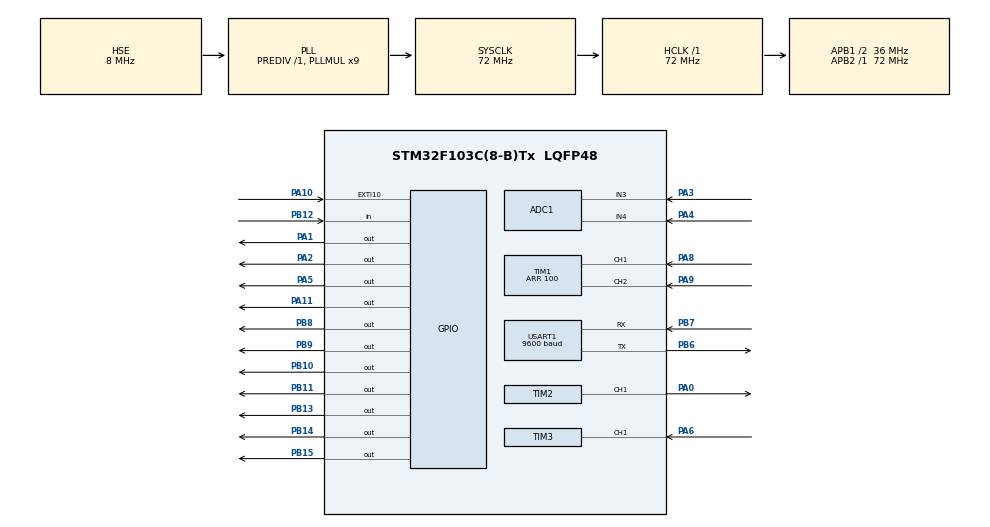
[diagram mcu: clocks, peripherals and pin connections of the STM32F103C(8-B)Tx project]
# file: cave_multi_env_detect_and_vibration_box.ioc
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ADC1.Channel-1\#ChannelRegularConversion=ADC_CHANNEL_3
ADC1.Channel-2\#ChannelRegularConversion=ADC_CHANNEL_4
ADC1.ContinuousConvMode=ENABLE
ADC1.ExternalTrigConv=ADC_SOFTWARE_START
ADC1.NbrOfConversion=2
ADC1.NbrOfConversionFlag=1
ADC1.Rank-1\#ChannelRegularConversion=1
ADC1.Rank-2\#ChannelRegularConversion=2
ADC1.SamplingTime-1\#ChannelRegularConversion=ADC_SAMPLETIME_55CYCLES_5
ADC1.SamplingTime-2\#ChannelRegularConversion=ADC_SAMPLETIME_55CYCLES_5
ADC1.master=1
Dma.ADC1.0.Direction=DMA_PERIPH_TO_MEMORY
Dma.ADC1.0.Instance=DMA1_Channel1
Dma.ADC1.0.MemDataAlignment=DMA_MDATAALIGN_HALFWORD
Dma.ADC1.0.MemInc=DMA_MINC_ENABLE
Dma.ADC1.0.Mode=DMA_CIRCULAR
Dma.ADC1.0.PeriphDataAlignment=DMA_PDATAALIGN_HALFWORD
Dma.ADC1.0.PeriphInc=DMA_PINC_DISABLE
Dma.ADC1.0.Priority=DMA_PRIORITY_LOW
Dma.Request0=ADC1
Dma.Request1=USART1_RX
Dma.USART1_RX.1.Direction=DMA_PERIPH_TO_MEMORY
Dma.USART1_RX.1.Instance=DMA1_Channel5
Dma.USART1_RX.1.MemDataAlignment=DMA_MDATAALIGN_BYTE
Dma.USART1_RX.1.MemInc=DMA_MINC_ENABLE
Dma.USART1_RX.1.Mode=DMA_NORMAL
Dma.USART1_RX.1.PeriphDataAlignment=DMA_PDATAALIGN_BYTE
Dma.USART1_RX.1.PeriphInc=DMA_PINC_DISABLE
Dma.USART1_RX.1.Priority=DMA_PRIORITY_LOW
Mcu.Family=STM32F1
Mcu.Name=STM32F103C(8-B)Tx
Mcu.Package=LQFP48
NVIC.DMA1_Channel1_IRQn=true\:0\:0\:true\:false\:true\:false\:true\:true
NVIC.DMA1_Channel5_IRQn=true\:0\:0\:false\:false\:true\:false\:true\:true
NVIC.EXTI15_10_IRQn=true\:0\:0\:false\:false\:true\:true\:true\:true
NVIC.PriorityGroup=NVIC_PRIORITYGROUP_4
NVIC.TIM3_IRQn=true\:1\:0\:true\:false\:true\:true\:true\:true
NVIC.USART1_IRQn=true\:1\:0\:true\:false\:true\:true\:true\:true
PA0-WKUP.Signal=S_TIM2_CH1_ETR
PA1.PinState=GPIO_PIN_SET
PA1.Signal=GPIO_Output
PA10.GPIO_PuPd=GPIO_PULLUP
PA10.Signal=GPXTI10
PA11.PinState=GPIO_PIN_SET
PA11.Signal=GPIO_Output
PA13.Mode=Serial_Wire
PA13.Signal=SYS_JTMS-SWDIO
PA14.Mode=Serial_Wire
PA14.Signal=SYS_JTCK-SWCLK
PA2.PinState=GPIO_PIN_SET
PA2.Signal=GPIO_Output
PA3.Signal=ADCx_IN3
PA4.Signal=ADCx_IN4
PA5.Signal=GPIO_Output
PA6.Signal=S_TIM3_CH1
PA8.Signal=S_TIM1_CH1
PA9.Signal=S_TIM1_CH2
PB10.GPIO_ModeDefaultOutputPP=GPIO_MODE_OUTPUT_OD
PB10.GPIO_PuPd=GPIO_NOPULL
PB10.Signal=GPIO_Output
PB11.GPIO_ModeDefaultOutputPP=GPIO_MODE_OUTPUT_OD
PB11.GPIO_PuPd=GPIO_NOPULL
PB11.Signal=GPIO_Output
PB12.GPIO_PuPd=GPIO_PULLUP
PB12.Signal=GPIO_Input
PB13.Signal=GPIO_Output
PB14.Signal=GPIO_Output
PB15.Signal=GPIO_Output
PB6.Mode=Asynchronous
PB6.Signal=USART1_TX
PB7.Mode=Asynchronous
PB7.Signal=USART1_RX
PB8.GPIO_ModeDefaultOutputPP=GPIO_MODE_OUTPUT_OD
PB8.GPIO_PuPd=GPIO_NOPULL
PB8.Signal=GPIO_Output
PB9.GPIO_ModeDefaultOutputPP=GPIO_MODE_OUTPUT_OD
PB9.GPIO_PuPd=GPIO_NOPULL
PB9.Signal=GPIO_Output
PC14-OSC32_IN.Mode=LSE-External-Oscillator
PC14-OSC32_IN.Signal=RCC_OSC32_IN
PC15-OSC32_OUT.Mode=LSE-External-Oscillator
PC15-OSC32_OUT.Signal=RCC_OSC32_OUT
PD0-OSC_IN.Mode=HSE-External-Oscillator
PD0-OSC_IN.Signal=RCC_OSC_IN
PD1-OSC_OUT.Mode=HSE-External-Oscillator
PD1-OSC_OUT.Signal=RCC_OSC_OUT
ProjectManager.HeapSize=0x200
ProjectManager.StackSize=0x400
ProjectManager.TargetToolchain=STM32CubeIDE
RCC.ADCPresc=RCC_ADCPCLK2_DIV6
RCC.AHBFreq_Value=72000000
RCC.APB1CLKDivider=RCC_HCLK_DIV2
RCC.APB1Freq_Value=36000000
RCC.APB1TimFreq_Value=72000000
RCC.APB2Freq_Value=72000000
RCC.APB2TimFreq_Value=72000000
RCC.HCLKFreq_Value=72000000
RCC.PLLMUL=RCC_PLL_MUL9
RCC.PLLSourceVirtual=RCC_PLLSOURCE_HSE
RCC.RTCClockSelection=RCC_RTCCLKSOURCE_LSE
RCC.SYSCLKFreq_VALUE=72000000
RCC.SYSCLKSource=RCC_SYSCLKSOURCE_PLLCLK
RCC.USBFreq_Value=72000000
RTC.Date=12
RTC.Format=RTC_FORMAT_BIN
RTC.Hours=13
RTC.Minutes=14
RTC.Month=RTC_MONTH_MARCH
RTC.WeekDay=RTC_WEEKDAY_THURSDAY
RTC.Year=26
SH.ADCx_IN3.0=ADC1_IN3,IN3
SH.ADCx_IN4.0=ADC1_IN4,IN4
SH.S_TIM1_CH1.0=TIM1_CH1,Encoder_Interface
SH.S_TIM1_CH2.0=TIM1_CH2,Encoder_Interface
SH.S_TIM2_CH1_ETR.0=TIM2_CH1,PWM Generation1 CH1
SH.S_TIM3_CH1.0=TIM3_CH1,Input_Capture1_from_TI1
TIM1.EncoderMode=TIM_ENCODERMODE_TI12
TIM1.Period=100
TIM2.Channel-PWM\ Generation1\ CH1=TIM_CHANNEL_1
TIM2.OCPolarity_1=TIM_OCPOLARITY_LOW
TIM2.Period=100
TIM2.Prescaler=719
TIM2.Pulse-PWM\ Generation1\ CH1=50
TIM3.Channel-Input_Capture1_from_TI1=TIM_CHANNEL_1
TIM3.ICFilter_CH1=2
TIM3.ICPolarity_CH1=TIM_INPUTCHANNELPOLARITY_FALLING
TIM3.Prescaler=71
TIM4.Prescaler=71
USART1.BaudRate=9600
USART1.VirtualMode=VM_ASYNC
VP_RTC_VS_RTC_Activate.Mode=RTC_Enabled
VP_RTC_VS_RTC_Calendar.Mode=RTC_Calendar
VP_TIM4_VS_ClockSourceINT.Mode=Internal
board=custom

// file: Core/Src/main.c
/* USER CODE BEGIN Header */
/**
  ******************************************************************************
  * @file           : main.c
  * @brief          : Main program body
  ******************************************************************************
  * @attention
  *
  * Copyright (c) 2026 STMicroelectronics.
  * All rights reserved.
  *
  * This software is licensed under terms that can be found in the LICENSE file
  * in the root directory of this software component.
  * If no LICENSE file comes with this software, it is provided AS-IS.
  *
  ******************************************************************************
  */
/* USER CODE END Header */
#include "main.h"
#include "adc.h"
#include "dma.h"
#include "rtc.h"
#include "tim.h"
#include "usart.h"
#include "gpio.h"

/* USER CODE BEGIN Includes */
#include "OLED.h"
#include "DHT11.h"
#include "Delay.h"
#include "NEC.h"
#include "MPU6050.h"
#include "Meau.h"
#include "Date.h"
#include "op.h"
#include <string.h>
/* USER CODE END Includes */

/* USER CODE BEGIN PV */
char OrgRX[100];
uint16_t ADC_DATA[2];
int16_t AccX;
int16_t AccY;
int16_t AccZ;
int16_t GyroX;
int16_t GyroY;
int16_t GyroZ;
/* USER CODE END PV */

void SystemClock_Config(void);

int main(void)
{

  /* MCU Configuration--------------------------------------------------------*/

  /* Reset of all peripherals, Initializes the Flash interface and the Systick. */
  HAL_Init();

  /* Configure the system clock */
  SystemClock_Config();

  /* Initialize all configured peripherals */
  MX_GPIO_Init();
  MX_DMA_Init();
  MX_ADC1_Init();
  MX_TIM1_Init();
  MX_TIM2_Init();
  MX_TIM3_Init();
  MX_RTC_Init();
  MX_USART1_UART_Init();
  MX_TIM4_Init();
  /* USER CODE BEGIN 2 */
  OLED_Init();
  HAL_ADCEx_Calibration_Start(&hadc1);
  HAL_TIM_Encoder_Start(&htim1,TIM_CHANNEL_1);
  HAL_TIM_Encoder_Start(&htim1,TIM_CHANNEL_2);
  HAL_TIM_PWM_Start(&htim2, TIM_CHANNEL_1);
  HAL_ADC_Start_DMA(&hadc1, (uint32_t*)ADC_DATA, 2);
  HAL_TIM_IC_Start_IT(&htim3, TIM_CHANNEL_1);
  Delay_Init();
  Meau0_Init();
  MPU6050_Init();
  MPU6050_GetData(&AccX, &AccY,  &AccZ,
  					 &GyroX, &GyroY, &GyroZ);
  __HAL_TIM_SET_COUNTER(&htim1,50);
  HAL_UARTEx_ReceiveToIdle_DMA(&huart1,(uint8_t*)OrgRX,100);
  /* USER CODE END 2 */

  /* Infinite loop */
  /* USER CODE BEGIN WHILE */
  while (1)
  {
	  Date_Process();
	  Warning_Switch(AccX, AccY,AccZ,GyroX, GyroY,GyroZ);
	  Mode_Switch();
	  Meau_switch();

    /* USER CODE END WHILE */

  }
}

void SystemClock_Config(void)
{
  RCC_OscInitTypeDef RCC_OscInitStruct = {0};
  RCC_ClkInitTypeDef RCC_ClkInitStruct = {0};
  RCC_PeriphCLKInitTypeDef PeriphClkInit = {0};

  /** Initializes the RCC Oscillators according to the specified parameters
  * in the RCC_OscInitTypeDef structure.
  */
  RCC_OscInitStruct.OscillatorType = RCC_OSCILLATORTYPE_HSE|RCC_OSCILLATORTYPE_LSE;
  RCC_OscInitStruct.HSEState = RCC_HSE_ON;
  RCC_OscInitStruct.HSEPredivValue = RCC_HSE_PREDIV_DIV1;
  RCC_OscInitStruct.LSEState = RCC_LSE_ON;
  RCC_OscInitStruct.HSIState = RCC_HSI_ON;
  RCC_OscInitStruct.PLL.PLLState = RCC_PLL_ON;
  RCC_OscInitStruct.PLL.PLLSource = RCC_PLLSOURCE_HSE;
  RCC_OscInitStruct.PLL.PLLMUL = RCC_PLL_MUL9;
  if (HAL_RCC_OscConfig(&RCC_OscInitStruct) != HAL_OK)
  {
    Error_Handler();
  }

  /** Initializes the CPU, AHB and APB buses clocks
  */
  RCC_ClkInitStruct.ClockType = RCC_CLOCKTYPE_HCLK|RCC_CLOCKTYPE_SYSCLK
                              |RCC_CLOCKTYPE_PCLK1|RCC_CLOCKTYPE_PCLK2;
  RCC_ClkInitStruct.SYSCLKSource = RCC_SYSCLKSOURCE_PLLCLK;
  RCC_ClkInitStruct.AHBCLKDivider = RCC_SYSCLK_DIV1;
  RCC_ClkInitStruct.APB1CLKDivider = RCC_HCLK_DIV2;
  RCC_ClkInitStruct.APB2CLKDivider = RCC_HCLK_DIV1;

  if (HAL_RCC_ClockConfig(&RCC_ClkInitStruct, FLASH_LATENCY_2) != HAL_OK)
  {
    Error_Handler();
  }
  PeriphClkInit.PeriphClockSelection = RCC_PERIPHCLK_RTC|RCC_PERIPHCLK_ADC;
  PeriphClkInit.RTCClockSelection = RCC_RTCCLKSOURCE_LSE;
  PeriphClkInit.AdcClockSelection = RCC_ADCPCLK2_DIV6;
  if (HAL_RCCEx_PeriphCLKConfig(&PeriphClkInit) != HAL_OK)
  {
    Error_Handler();
  }
}

void Error_Handler(void)
{
  __disable_irq();
  while (1)
  {
  }
}
